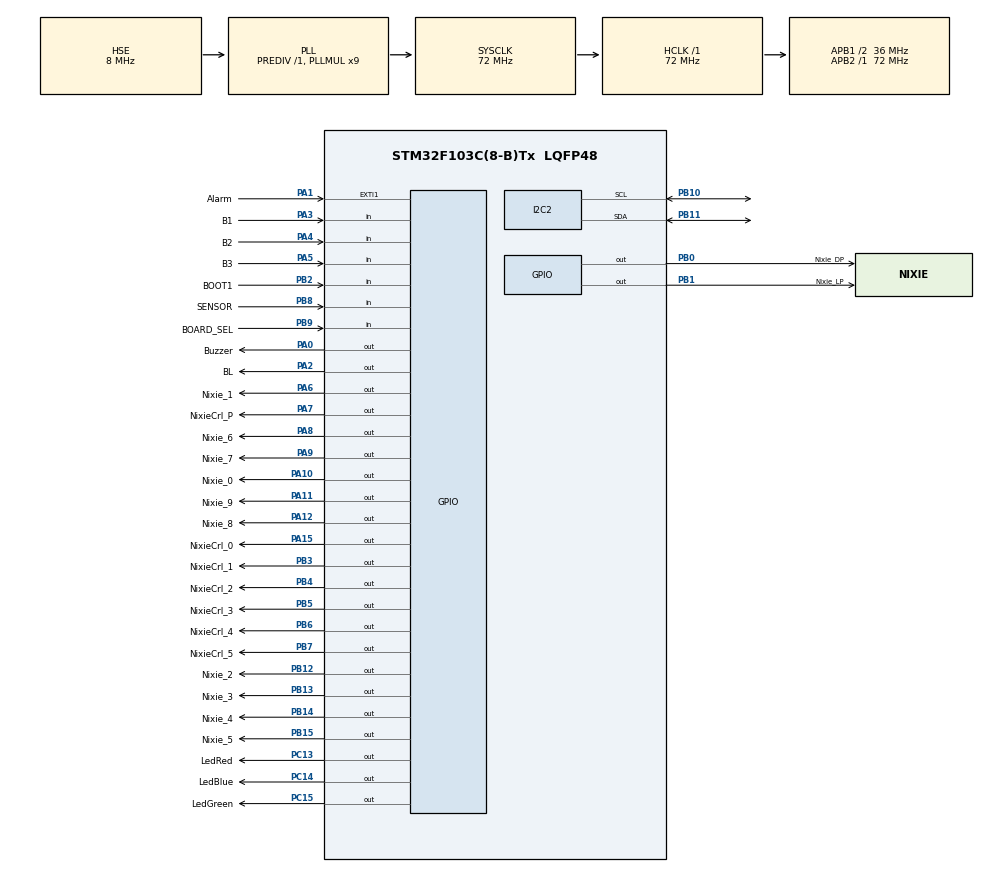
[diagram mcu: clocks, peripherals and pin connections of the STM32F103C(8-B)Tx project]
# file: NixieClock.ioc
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Mcu.Family=STM32F1
FREERTOS.Queues01=Q_Buttons,4,uint8_t,0,Dynamic,NULL,NULL
FREERTOS.BinarySemaphores01=S_Alarm,Dynamic,NULL
Dma.I2C2_RX.0.MemDataAlignment=DMA_MDATAALIGN_BYTE
NVIC.DMA1_Channel5_IRQn=true\:5\:0\:false\:false\:true\:true\:false\:true
PB10.Mode=I2C
Dma.I2C2_RX.0.Priority=DMA_PRIORITY_HIGH
PB14.GPIO_Label=Nixie_4
PA3.GPIO_PuPd=GPIO_PULLUP
PA6.GPIO_Label=Nixie_1
PB0.GPIO_Label=Nixie_DP
PB6.GPIO_Label=NixieCrl_4
NVIC.TIM1_UP_IRQn=true\:0\:0\:false\:false\:true\:false\:false\:true
PB13.GPIO_Label=Nixie_3
PB11.Signal=I2C2_SDA
PB13.Signal=GPIO_Output
PB15.Signal=GPIO_Output
PC15-OSC32_OUT.GPIO_Label=LedGreen
RCC.SYSCLKSource=RCC_SYSCLKSOURCE_PLLCLK
ProjectManager.StackSize=0x400
PD1-OSC_OUT.Signal=RCC_OSC_OUT
PA15.GPIO_Label=NixieCrl_0
NVIC.EXTI1_IRQn=true\:5\:0\:false\:false\:true\:true\:true\:true
PA12.Signal=GPIO_Output
RCC.HCLKFreq_Value=72000000
Dma.I2C2_RX.0.PeriphDataAlignment=DMA_PDATAALIGN_BYTE
RCC.APB2TimFreq_Value=72000000
TIM3.Period=71
PB6.Signal=GPIO_Output
PA1.GPIO_PuPd=GPIO_PULLDOWN
RCC.AHBFreq_Value=72000000
PA4.GPIO_PuPd=GPIO_PULLUP
PB2.Signal=GPIO_Input
RCC.PLLMUL=RCC_PLL_MUL9
PB12.GPIO_Label=Nixie_2
PA14.Mode=Serial_Wire
VP_SYS_VS_tim1.Mode=TIM1
FREERTOS.HEAP_NUMBER=4
TIM3.Prescaler=999
PA5.GPIO_PuPd=GPIO_PULLDOWN
PB1.GPIO_Label=Nixie_LP
NVIC.TIM2_IRQn=true\:5\:0\:false\:false\:true\:true\:true\:true
PA10.GPIO_Label=Nixie_0
PB7.Signal=GPIO_Output
PA8.Signal=GPIO_Output
TIM4.Period=143
VP_FREERTOS_VS_CMSIS_V1.Mode=CMSIS_V1
Dma.I2C2_RX.0.PeriphInc=DMA_PINC_DISABLE
FREERTOS.configTOTAL_HEAP_SIZE=8192
PB7.GPIO_Label=NixieCrl_5
Mcu.Package=LQFP48
PB9.Signal=GPIO_Input
TIM2.Prescaler=17999
PB1.Signal=GPIO_Output
PA6.Signal=GPIO_Output
NVIC.TimeBase=TIM1_UP_IRQn
PA2.GPIO_Label=BL
NVIC.TimeBaseIP=TIM1
PA10.Signal=GPIO_Output
PA15.Signal=GPIO_Output
PB5.GPIO_Label=NixieCrl_3
RCC.APB1TimFreq_Value=72000000
PC14-OSC32_IN.GPIO_Label=LedBlue
Dma.Request0=I2C2_RX
I2C2.I2C_Mode=I2C_Fast
PA4.GPIO_Label=B2
PA1.GPIO_ModeDefaultEXTI=GPIO_MODE_IT_FALLING
VP_TIM3_VS_ClockSourceINT.Mode=Internal
PB4.Signal=GPIO_Output
PA3.Signal=GPIO_Input
PB3.GPIO_Label=NixieCrl_1
RCC.PLLSourceVirtual=RCC_PLLSOURCE_HSE
FREERTOS.Tasks01=pulling,2,128,StartPullingTask,Default,NULL,Dynamic,NULL,NULL;Buttons,-1,128,StartButtosTask,Default,NULL,Dynamic,NULL,NULL;Alarm,0,128,StartAlarmTask,Default,NULL,Dynamic,NULL,NULL
PD1-OSC_OUT.Mode=HSE-External-Oscillator
PB9.GPIO_Label=BOARD_SEL
PA9.GPIO_Label=Nixie_7
PC13-TAMPER-RTC.Signal=GPIO_Output
PA11.GPIO_Label=Nixie_9
PD0-OSC_IN.Signal=RCC_OSC_IN
RCC.APB1CLKDivider=RCC_HCLK_DIV2
PC14-OSC32_IN.Signal=GPIO_Output
PA12.GPIO_Label=Nixie_8
PA0-WKUP.GPIO_Label=Buzzer
PA0-WKUP.Signal=GPIO_Output
PA13.Signal=SYS_JTMS-SWDIO
PB8.GPIO_Label=SENSOR
PA8.GPIO_Label=Nixie_6
PB11.Mode=I2C
ProjectManager.TargetToolchain=STM32CubeIDE
Dma.I2C2_RX.0.MemInc=DMA_MINC_ENABLE
PA9.Signal=GPIO_Output
RCC.USBFreq_Value=72000000
TIM4.Prescaler=99
PC15-OSC32_OUT.Signal=GPIO_Output
PA1.Signal=GPXTI1
PD0-OSC_IN.Mode=HSE-External-Oscillator
PB10.Signal=I2C2_SCL
PB14.Signal=GPIO_Output
PA5.Signal=GPIO_Input
board=custom
PC13-TAMPER-RTC.GPIO_Label=LedRed
NVIC.TIM3_IRQn=true\:5\:0\:false\:false\:true\:true\:true\:true
RCC.APB2Freq_Value=72000000
PB4.GPIO_Label=NixieCrl_2
PB15.GPIO_Label=Nixie_5
VP_TIM2_VS_ClockSourceINT.Mode=Internal
Dma.I2C2_RX.0.Mode=DMA_NORMAL
PA1.GPIO_Label=Alarm
Dma.I2C2_RX.0.Instance=DMA1_Channel5
TIM2.Period=499
PA13.Mode=Serial_Wire
Dma.I2C2_RX.0.Direction=DMA_PERIPH_TO_MEMORY
Mcu.Name=STM32F103C(8-B)Tx
PA2.Signal=GPIO_Output
PB3.Signal=GPIO_Output
PA4.Signal=GPIO_Input
RCC.SYSCLKFreq_VALUE=72000000
PB5.Signal=GPIO_Output
PA7.GPIO_Label=NixieCrl_P
PA5.GPIO_Label=B3
PA11.Signal=GPIO_Output
PA14.Signal=SYS_JTCK-SWCLK
PB2.GPIO_Label=BOOT1
ProjectManager.HeapSize=0x200
NVIC.I2C2_EV_IRQn=true\:5\:0\:false\:false\:true\:true\:true\:true
VP_TIM4_VS_ClockSourceINT.Mode=Internal
NVIC.PriorityGroup=NVIC_PRIORITYGROUP_4
PB8.Signal=GPIO_Input
NVIC.TIM4_IRQn=true\:5\:0\:false\:false\:true\:true\:true\:true
RCC.APB1Freq_Value=36000000
PB0.Signal=GPIO_Output
PB12.Signal=GPIO_Output
PA3.GPIO_Label=B1
PA7.Signal=GPIO_Output

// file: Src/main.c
/* USER CODE BEGIN Header */
/**
  ******************************************************************************
  * @file           : main.c
  * @brief          : Main program body
  ******************************************************************************
  * This notice applies to any and all portions of this file
  * that are not between comment pairs USER CODE BEGIN and
  * USER CODE END. Other portions of this file, whether
  * inserted by the user or by software development tools
  * are owned by their respective copyright owners.
  *
  * Copyright (c) 2019 STMicroelectronics International N.V.
  * All rights reserved.
  *
  * Redistribution and use in source and binary forms, with or without
  * modification, are permitted, provided that the following conditions are met:
  *
  * 1. Redistribution of source code must retain the above copyright notice,
  *    this list of conditions and the following disclaimer.
  * 2. Redistributions in binary form must reproduce the above copyright notice,
  *    this list of conditions and the following disclaimer in the documentation
  *    and/or other materials provided with the distribution.
  * 3. Neither the name of STMicroelectronics nor the names of other
  *    contributors to this software may be used to endorse or promote products
  *    derived from this software without specific written permission.
  * 4. This software, including modifications and/or derivative works of this
  *    software, must execute solely and exclusively on microcontroller or
  *    microprocessor devices manufactured by or for STMicroelectronics.
  * 5. Redistribution and use of this software other than as permitted under
  *    this license is void and will automatically terminate your rights under
  *    this license.
  *
  * THIS SOFTWARE IS PROVIDED BY STMICROELECTRONICS AND CONTRIBUTORS "AS IS"
  * AND ANY EXPRESS, IMPLIED OR STATUTORY WARRANTIES, INCLUDING, BUT NOT
  * LIMITED TO, THE IMPLIED WARRANTIES OF MERCHANTABILITY, FITNESS FOR A
  * PARTICULAR PURPOSE AND NON-INFRINGEMENT OF THIRD PARTY INTELLECTUAL PROPERTY
  * RIGHTS ARE DISCLAIMED TO THE FULLEST EXTENT PERMITTED BY LAW. IN NO EVENT
  * SHALL STMICROELECTRONICS OR CONTRIBUTORS BE LIABLE FOR ANY DIRECT, INDIRECT,
  * INCIDENTAL, SPECIAL, EXEMPLARY, OR CONSEQUENTIAL DAMAGES (INCLUDING, BUT NOT
  * LIMITED TO, PROCUREMENT OF SUBSTITUTE GOODS OR SERVICES; LOSS OF USE, DATA,
  * OR PROFITS; OR BUSINESS INTERRUPTION) HOWEVER CAUSED AND ON ANY THEORY OF
  * LIABILITY, WHETHER IN CONTRACT, STRICT LIABILITY, OR TORT (INCLUDING
  * NEGLIGENCE OR OTHERWISE) ARISING IN ANY WAY OUT OF THE USE OF THIS SOFTWARE,
  * EVEN IF ADVISED OF THE POSSIBILITY OF SUCH DAMAGE.
  *
  ******************************************************************************
  */
/* USER CODE END Header */
#include "main.h"
#include "cmsis_os.h"

/* USER CODE BEGIN Includes */
#include "nixieDisplay.h"
/* USER CODE END Includes */

/* USER CODE BEGIN PD */
#define B_PERIOD 8
#define B_ACTIVITY 4
#define RTC_PERIOD 2
/* USER CODE END PD */

I2C_HandleTypeDef hi2c2;
DMA_HandleTypeDef hdma_i2c2_rx;

TIM_HandleTypeDef htim2;
TIM_HandleTypeDef htim3;
TIM_HandleTypeDef htim4;

osThreadId pullingHandle;
osThreadId ButtonsHandle;
osThreadId AlarmHandle;
osMessageQId Q_ButtonsHandle;
osSemaphoreId S_AlarmHandle;
/* USER CODE BEGIN PV */
uint8_t buttonFlag[6]={0,0,0,0,0,0};
/* USER CODE END PV */

void SystemClock_Config(void);
static void MX_GPIO_Init(void);
static void MX_DMA_Init(void);
static void MX_TIM2_Init(void);
static void MX_TIM3_Init(void);
static void MX_I2C2_Init(void);
static void MX_TIM4_Init(void);
void StartPullingTask(void const * argument);
void StartButtosTask(void const * argument);
void StartAlarmTask(void const * argument);

/* USER CODE BEGIN 0 */
uint8_t event(){
	uint8_t aux=0,aux2=0;
	static uint8_t start[6]={0,1,1,1,0,1};
	if((HAL_GPIO_ReadPin(B1_GPIO_Port,B1_Pin))==GPIO_PIN_RESET){
		if(!buttonFlag[E_B1]){
			aux=E_B1;
			if(start[E_B1]){
				buttonFlag[E_B1]=20;
				start[E_B1]=0;
			}else{
				buttonFlag[E_B1]=1;
			}
		}
	}else{
		buttonFlag[E_B1]=0;
		start[E_B1]=1;
	}
	if((HAL_GPIO_ReadPin(B2_GPIO_Port,B2_Pin))==GPIO_PIN_RESET){
		if(!buttonFlag[E_B2]){
			aux=E_B2;
			if(start[E_B2]){
				buttonFlag[E_B2]=20;
				start[E_B2]=0;
			}else{
				buttonFlag[E_B2]=1;
			}
		}
	}else{
		buttonFlag[E_B2]=0;
		start[E_B2]=1;
	}
	if((HAL_GPIO_ReadPin(B3_GPIO_Port,B3_Pin))==GPIO_PIN_RESET){
		if(!buttonFlag[E_B3]){
			aux=E_B3;
			if(start[E_B3]){
				buttonFlag[E_B3]=20;
				start[E_B3]=0;
			}else{
				buttonFlag[E_B3]=1;
			}
		}
	}else{
		buttonFlag[E_B3]=0;
		start[E_B3]=1;
	}
	aux2= HAL_GPIO_ReadPin(SENSOR_GPIO_Port,SENSOR_Pin);
	if(aux2!=start[E_SENSOR]){
		if(!buttonFlag[E_SENSOR]){
			start[E_SENSOR]=!start[E_SENSOR];
			aux=E_SENSOR;
			buttonFlag[E_SENSOR]=10;
		}
	}
	return aux;
}
/* USER CODE END 0 */

int main(void)
{

  /* MCU Configuration--------------------------------------------------------*/

  /* Reset of all peripherals, Initializes the Flash interface and the Systick. */
  HAL_Init();

  /* USER CODE BEGIN Init */
  resetGpio();
  /* USER CODE END Init */

  /* Configure the system clock */
  SystemClock_Config();

  /* Initialize all configured peripherals */
  MX_GPIO_Init();
  MX_DMA_Init();
  MX_TIM2_Init();
  MX_TIM3_Init();
  MX_I2C2_Init();
  MX_TIM4_Init();
  /* USER CODE BEGIN 2 */
  nixieInit();
  /* USER CODE END 2 */

  /* Create the semaphores(s) */
  /* definition and creation of S_Alarm */
  osSemaphoreDef(S_Alarm);
  S_AlarmHandle = osSemaphoreCreate(osSemaphore(S_Alarm), 1);

  /* Create the queue(s) */
  /* definition and creation of Q_Buttons */
  osMessageQDef(Q_Buttons, 4, uint8_t);
  Q_ButtonsHandle = osMessageCreate(osMessageQ(Q_Buttons), NULL);

  /* Create the thread(s) */
  /* definition and creation of pulling */
  osThreadDef(pulling, StartPullingTask, osPriorityHigh, 0, 128);
  pullingHandle = osThreadCreate(osThread(pulling), NULL);

  /* definition and creation of Buttons */
  osThreadDef(Buttons, StartButtosTask, osPriorityBelowNormal, 0, 128);
  ButtonsHandle = osThreadCreate(osThread(Buttons), NULL);

  /* definition and creation of Alarm */
  osThreadDef(Alarm, StartAlarmTask, osPriorityNormal, 0, 128);
  AlarmHandle = osThreadCreate(osThread(Alarm), NULL);

  /* Start scheduler */
  osKernelStart();

  /* We should never get here as control is now taken by the scheduler */
  /* Infinite loop */
  while (1)
  {

  }
}

void SystemClock_Config(void)
{
  RCC_OscInitTypeDef RCC_OscInitStruct = {0};
  RCC_ClkInitTypeDef RCC_ClkInitStruct = {0};

  /** Initializes the RCC Oscillators according to the specified parameters
  * in the RCC_OscInitTypeDef structure.
  */
  RCC_OscInitStruct.OscillatorType = RCC_OSCILLATORTYPE_HSE;
  RCC_OscInitStruct.HSEState = RCC_HSE_ON;
  RCC_OscInitStruct.HSEPredivValue = RCC_HSE_PREDIV_DIV1;
  RCC_OscInitStruct.HSIState = RCC_HSI_ON;
  RCC_OscInitStruct.PLL.PLLState = RCC_PLL_ON;
  RCC_OscInitStruct.PLL.PLLSource = RCC_PLLSOURCE_HSE;
  RCC_OscInitStruct.PLL.PLLMUL = RCC_PLL_MUL9;
  if (HAL_RCC_OscConfig(&RCC_OscInitStruct) != HAL_OK)
  {
    Error_Handler();
  }
  /** Initializes the CPU, AHB and APB buses clocks
  */
  RCC_ClkInitStruct.ClockType = RCC_CLOCKTYPE_HCLK|RCC_CLOCKTYPE_SYSCLK
                              |RCC_CLOCKTYPE_PCLK1|RCC_CLOCKTYPE_PCLK2;
  RCC_ClkInitStruct.SYSCLKSource = RCC_SYSCLKSOURCE_PLLCLK;
  RCC_ClkInitStruct.AHBCLKDivider = RCC_SYSCLK_DIV1;
  RCC_ClkInitStruct.APB1CLKDivider = RCC_HCLK_DIV2;
  RCC_ClkInitStruct.APB2CLKDivider = RCC_HCLK_DIV1;

  if (HAL_RCC_ClockConfig(&RCC_ClkInitStruct, FLASH_LATENCY_2) != HAL_OK)
  {
    Error_Handler();
  }
}

static void MX_I2C2_Init(void)
{

  hi2c2.Instance = I2C2;
  hi2c2.Init.ClockSpeed = 400000;
  hi2c2.Init.DutyCycle = I2C_DUTYCYCLE_2;
  hi2c2.Init.OwnAddress1 = 0;
  hi2c2.Init.AddressingMode = I2C_ADDRESSINGMODE_7BIT;
  hi2c2.Init.DualAddressMode = I2C_DUALADDRESS_DISABLE;
  hi2c2.Init.OwnAddress2 = 0;
  hi2c2.Init.GeneralCallMode = I2C_GENERALCALL_DISABLE;
  hi2c2.Init.NoStretchMode = I2C_NOSTRETCH_DISABLE;
  if (HAL_I2C_Init(&hi2c2) != HAL_OK)
  {
    Error_Handler();
  }

}

static void MX_TIM2_Init(void)
{

  TIM_ClockConfigTypeDef sClockSourceConfig = {0};
  TIM_MasterConfigTypeDef sMasterConfig = {0};

  htim2.Instance = TIM2;
  htim2.Init.Prescaler = 17999;
  htim2.Init.CounterMode = TIM_COUNTERMODE_UP;
  htim2.Init.Period = 499;
  htim2.Init.ClockDivision = TIM_CLOCKDIVISION_DIV1;
  htim2.Init.AutoReloadPreload = TIM_AUTORELOAD_PRELOAD_DISABLE;
  if (HAL_TIM_Base_Init(&htim2) != HAL_OK)
  {
    Error_Handler();
  }
  sClockSourceConfig.ClockSource = TIM_CLOCKSOURCE_INTERNAL;
  if (HAL_TIM_ConfigClockSource(&htim2, &sClockSourceConfig) != HAL_OK)
  {
    Error_Handler();
  }
  sMasterConfig.MasterOutputTrigger = TIM_TRGO_RESET;
  sMasterConfig.MasterSlaveMode = TIM_MASTERSLAVEMODE_DISABLE;
  if (HAL_TIMEx_MasterConfigSynchronization(&htim2, &sMasterConfig) != HAL_OK)
  {
    Error_Handler();
  }

}

static void MX_TIM3_Init(void)
{

  TIM_ClockConfigTypeDef sClockSourceConfig = {0};
  TIM_MasterConfigTypeDef sMasterConfig = {0};

  htim3.Instance = TIM3;
  htim3.Init.Prescaler = 999;
  htim3.Init.CounterMode = TIM_COUNTERMODE_UP;
  htim3.Init.Period = 71;
  htim3.Init.ClockDivision = TIM_CLOCKDIVISION_DIV1;
  htim3.Init.AutoReloadPreload = TIM_AUTORELOAD_PRELOAD_DISABLE;
  if (HAL_TIM_Base_Init(&htim3) != HAL_OK)
  {
    Error_Handler();
  }
  sClockSourceConfig.ClockSource = TIM_CLOCKSOURCE_INTERNAL;
  if (HAL_TIM_ConfigClockSource(&htim3, &sClockSourceConfig) != HAL_OK)
  {
    Error_Handler();
  }
  sMasterConfig.MasterOutputTrigger = TIM_TRGO_RESET;
  sMasterConfig.MasterSlaveMode = TIM_MASTERSLAVEMODE_DISABLE;
  if (HAL_TIMEx_MasterConfigSynchronization(&htim3, &sMasterConfig) != HAL_OK)
  {
    Error_Handler();
  }

}

static void MX_TIM4_Init(void)
{

  TIM_ClockConfigTypeDef sClockSourceConfig = {0};
  TIM_MasterConfigTypeDef sMasterConfig = {0};

  htim4.Instance = TIM4;
  htim4.Init.Prescaler = 99;
  htim4.Init.CounterMode = TIM_COUNTERMODE_UP;
  htim4.Init.Period = 143;
  htim4.Init.ClockDivision = TIM_CLOCKDIVISION_DIV1;
  htim4.Init.AutoReloadPreload = TIM_AUTORELOAD_PRELOAD_DISABLE;
  if (HAL_TIM_Base_Init(&htim4) != HAL_OK)
  {
    Error_Handler();
  }
  sClockSourceConfig.ClockSource = TIM_CLOCKSOURCE_INTERNAL;
  if (HAL_TIM_ConfigClockSource(&htim4, &sClockSourceConfig) != HAL_OK)
  {
    Error_Handler();
  }
  sMasterConfig.MasterOutputTrigger = TIM_TRGO_RESET;
  sMasterConfig.MasterSlaveMode = TIM_MASTERSLAVEMODE_DISABLE;
  if (HAL_TIMEx_MasterConfigSynchronization(&htim4, &sMasterConfig) != HAL_OK)
  {
    Error_Handler();
  }

}

static void MX_DMA_Init(void)
{

  /* DMA controller clock enable */
  __HAL_RCC_DMA1_CLK_ENABLE();

  /* DMA interrupt init */
  /* DMA1_Channel5_IRQn interrupt configuration */
  HAL_NVIC_SetPriority(DMA1_Channel5_IRQn, 5, 0);
  HAL_NVIC_EnableIRQ(DMA1_Channel5_IRQn);

}

static void MX_GPIO_Init(void)
{
  GPIO_InitTypeDef GPIO_InitStruct = {0};

  /* GPIO Ports Clock Enable */
  __HAL_RCC_GPIOC_CLK_ENABLE();
  __HAL_RCC_GPIOD_CLK_ENABLE();
  __HAL_RCC_GPIOA_CLK_ENABLE();
  __HAL_RCC_GPIOB_CLK_ENABLE();

  /*Configure GPIO pin Output Level */
  HAL_GPIO_WritePin(GPIOC, LedRed_Pin|LedBlue_Pin|LedGreen_Pin, GPIO_PIN_RESET);

  /*Configure GPIO pin Output Level */
  HAL_GPIO_WritePin(GPIOA, Buzzer_Pin|BL_Pin|Nixie_1_Pin|NixieCrl_P_Pin
                          |Nixie_6_Pin|Nixie_7_Pin|Nixie_0_Pin|Nixie_9_Pin
                          |Nixie_8_Pin|NixieCrl_0_Pin, GPIO_PIN_RESET);

  /*Configure GPIO pin Output Level */
  HAL_GPIO_WritePin(GPIOB, Nixie_DP_Pin|Nixie_LP_Pin|Nixie_2_Pin|Nixie_3_Pin
                          |Nixie_4_Pin|Nixie_5_Pin|NixieCrl_1_Pin|NixieCrl_2_Pin
                          |NixieCrl_3_Pin|NixieCrl_4_Pin|NixieCrl_5_Pin, GPIO_PIN_RESET);

  /*Configure GPIO pins : LedRed_Pin LedBlue_Pin LedGreen_Pin */
  GPIO_InitStruct.Pin = LedRed_Pin|LedBlue_Pin|LedGreen_Pin;
  GPIO_InitStruct.Mode = GPIO_MODE_OUTPUT_PP;
  GPIO_InitStruct.Pull = GPIO_NOPULL;
  GPIO_InitStruct.Speed = GPIO_SPEED_FREQ_LOW;
  HAL_GPIO_Init(GPIOC, &GPIO_InitStruct);

  /*Configure GPIO pins : Buzzer_Pin BL_Pin Nixie_1_Pin NixieCrl_P_Pin
                           Nixie_6_Pin Nixie_7_Pin Nixie_0_Pin Nixie_9_Pin
                           Nixie_8_Pin NixieCrl_0_Pin */
  GPIO_InitStruct.Pin = Buzzer_Pin|BL_Pin|Nixie_1_Pin|NixieCrl_P_Pin
                          |Nixie_6_Pin|Nixie_7_Pin|Nixie_0_Pin|Nixie_9_Pin
                          |Nixie_8_Pin|NixieCrl_0_Pin;
  GPIO_InitStruct.Mode = GPIO_MODE_OUTPUT_PP;
  GPIO_InitStruct.Pull = GPIO_NOPULL;
  GPIO_InitStruct.Speed = GPIO_SPEED_FREQ_LOW;
  HAL_GPIO_Init(GPIOA, &GPIO_InitStruct);

  /*Configure GPIO pin : Alarm_Pin */
  GPIO_InitStruct.Pin = Alarm_Pin;
  GPIO_InitStruct.Mode = GPIO_MODE_IT_FALLING;
  GPIO_InitStruct.Pull = GPIO_PULLDOWN;
  HAL_GPIO_Init(Alarm_GPIO_Port, &GPIO_InitStruct);

  /*Configure GPIO pins : B1_Pin B2_Pin */
  GPIO_InitStruct.Pin = B1_Pin|B2_Pin;
  GPIO_InitStruct.Mode = GPIO_MODE_INPUT;
  GPIO_InitStruct.Pull = GPIO_PULLUP;
  HAL_GPIO_Init(GPIOA, &GPIO_InitStruct);

  /*Configure GPIO pin : B3_Pin */
  GPIO_InitStruct.Pin = B3_Pin;
  GPIO_InitStruct.Mode = GPIO_MODE_INPUT;
  GPIO_InitStruct.Pull = GPIO_PULLDOWN;
  HAL_GPIO_Init(B3_GPIO_Port, &GPIO_InitStruct);

  /*Configure GPIO pins : Nixie_DP_Pin Nixie_LP_Pin Nixie_2_Pin Nixie_3_Pin
                           Nixie_4_Pin Nixie_5_Pin NixieCrl_1_Pin NixieCrl_2_Pin
                           NixieCrl_3_Pin NixieCrl_4_Pin NixieCrl_5_Pin */
  GPIO_InitStruct.Pin = Nixie_DP_Pin|Nixie_LP_Pin|Nixie_2_Pin|Nixie_3_Pin
                          |Nixie_4_Pin|Nixie_5_Pin|NixieCrl_1_Pin|NixieCrl_2_Pin
                          |NixieCrl_3_Pin|NixieCrl_4_Pin|NixieCrl_5_Pin;
  GPIO_InitStruct.Mode = GPIO_MODE_OUTPUT_PP;
  GPIO_InitStruct.Pull = GPIO_NOPULL;
  GPIO_InitStruct.Speed = GPIO_SPEED_FREQ_LOW;
  HAL_GPIO_Init(GPIOB, &GPIO_InitStruct);

  /*Configure GPIO pins : BOOT1_Pin SENSOR_Pin BOARD_SEL_Pin */
  GPIO_InitStruct.Pin = BOOT1_Pin|SENSOR_Pin|BOARD_SEL_Pin;
  GPIO_InitStruct.Mode = GPIO_MODE_INPUT;
  GPIO_InitStruct.Pull = GPIO_NOPULL;
  HAL_GPIO_Init(GPIOB, &GPIO_InitStruct);

  /* EXTI interrupt init*/
  HAL_NVIC_SetPriority(EXTI1_IRQn, 5, 0);
  HAL_NVIC_EnableIRQ(EXTI1_IRQn);

}

/* USER CODE BEGIN 4 */
void HAL_GPIO_EXTI_Callback(uint16_t GPIO_Pin){
	portBASE_TYPE X	=pdFALSE;
	if(GPIO_Pin==GPIO_PIN_1){
		xSemaphoreGiveFromISR(S_AlarmHandle,&X);
	}
	portEND_SWITCHING_ISR(X);
}
void HAL_I2C_MemRxCpltCallback(I2C_HandleTypeDef *hi2c){
	if(hi2c->Instance==hi2c2.Instance){
		loadRTC();
	}
}

/* USER CODE END 4 */

void StartPullingTask(void const * argument)
{
  /* USER CODE BEGIN 5 */

  /* Infinite loop */
	uint8_t aux=0;
  for(;;)
  {
	  aux=event();
	  if(aux){
	  xQueueSendToBack(Q_ButtonsHandle,&aux,(portTickType)0);
	  }
    osDelay(100);
  }
  /* USER CODE END 5 */
}

void StartButtosTask(void const * argument)
{
  /* USER CODE BEGIN StartButtosTask */
	uint8_t aux=0;
  /* Infinite loop */
  for(;;)
  {
		xQueueReceive(Q_ButtonsHandle,&aux,portMAX_DELAY);
		nixieEvent(aux);
  }
  /* USER CODE END StartButtosTask */
}

void StartAlarmTask(void const * argument)
{
  /* USER CODE BEGIN StartAlarmTask */
  /* Infinite loop */
  for(;;)
  {
    xSemaphoreTake(S_AlarmHandle,portMAX_DELAY);
    nixieEvent(E_ALARM);
  }
  /* USER CODE END StartAlarmTask */
}

 /**
  * @brief  Period elapsed callback in non blocking mode
  * @note   This function is called  when TIM1 interrupt took place, inside
  * HAL_TIM_IRQHandler(). It makes a direct call to HAL_IncTick() to increment
  * a global variable "uwTick" used as application time base.
  * @param  htim : TIM handle
  * @retval None
  */
void HAL_TIM_PeriodElapsedCallback(TIM_HandleTypeDef *htim)
{
  /* USER CODE BEGIN Callback 0 */
	static uint8_t aux=0,aux2=0;
  /* USER CODE END Callback 0 */
  if (htim->Instance == TIM1) {
    HAL_IncTick();
  }
  /* USER CODE BEGIN Callback 1 */
  if (htim->Instance == TIM2){
	  //base freq =72 Mhz
	  //precaler 17999
	  //counter 499
	  //per int = (18000/72M)*500 = 125ms
     nixieBuzzer(B_PERIOD,B_ACTIVITY);
  }
  if(htim->Instance == TIM3){
	  //base freq =72 Mhz
	  //precaler 999
	  //counter 71
	  //per int = (1000/72M)*72 = 1ms
	  nixieTickUpdate();
  }
  if(htim->Instance==TIM4){
	  //base freq =72 Mhz
	  //precaler 99
	  //counter 143
	  //period int = (100/72M)*144 = 200us
	 if (!aux){
		//period = 500ms
		getRTC(&hi2c2);
	 }

	 if(!aux2){
		//period = 100ms
		if(buttonFlag[E_B1]){
			buttonFlag[E_B1]--;
		}
		if(buttonFlag[E_B2]){
			buttonFlag[E_B2]--;
		}
		if(buttonFlag[E_B3]){
			buttonFlag[E_B3]--;
		}
		if(buttonFlag[E_SENSOR]){
			buttonFlag[E_SENSOR]--;
		}
	 }
	 nixieDisplay(); //periodo de 200us * 10 = 2ms con duty 10%
	 nixieLed();
	 aux++;
	 aux2++;
	 aux2%=500;
	 aux%=2500;
  }

  /* USER CODE END Callback 1 */
}

void Error_Handler(void)
{
}

/************************ (C) COPYRIGHT STMicroelectronics *****END OF FILE****/

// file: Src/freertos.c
/* USER CODE BEGIN Header */
/**
  ******************************************************************************
  * File Name          : freertos.c
  * Description        : Code for freertos applications
  ******************************************************************************
  * This notice applies to any and all portions of this file
  * that are not between comment pairs USER CODE BEGIN and
  * USER CODE END. Other portions of this file, whether
  * inserted by the user or by software development tools
  * are owned by their respective copyright owners.
  *
  * Copyright (c) 2019 STMicroelectronics International N.V.
  * All rights reserved.
  *
  * Redistribution and use in source and binary forms, with or without
  * modification, are permitted, provided that the following conditions are met:
  *
  * 1. Redistribution of source code must retain the above copyright notice,
  *    this list of conditions and the following disclaimer.
  * 2. Redistributions in binary form must reproduce the above copyright notice,
  *    this list of conditions and the following disclaimer in the documentation
  *    and/or other materials provided with the distribution.
  * 3. Neither the name of STMicroelectronics nor the names of other
  *    contributors to this software may be used to endorse or promote products
  *    derived from this software without specific written permission.
  * 4. This software, including modifications and/or derivative works of this
  *    software, must execute solely and exclusively on microcontroller or
  *    microprocessor devices manufactured by or for STMicroelectronics.
  * 5. Redistribution and use of this software other than as permitted under
  *    this license is void and will automatically terminate your rights under
  *    this license.
  *
  * THIS SOFTWARE IS PROVIDED BY STMICROELECTRONICS AND CONTRIBUTORS "AS IS"
  * AND ANY EXPRESS, IMPLIED OR STATUTORY WARRANTIES, INCLUDING, BUT NOT
  * LIMITED TO, THE IMPLIED WARRANTIES OF MERCHANTABILITY, FITNESS FOR A
  * PARTICULAR PURPOSE AND NON-INFRINGEMENT OF THIRD PARTY INTELLECTUAL PROPERTY
  * RIGHTS ARE DISCLAIMED TO THE FULLEST EXTENT PERMITTED BY LAW. IN NO EVENT
  * SHALL STMICROELECTRONICS OR CONTRIBUTORS BE LIABLE FOR ANY DIRECT, INDIRECT,
  * INCIDENTAL, SPECIAL, EXEMPLARY, OR CONSEQUENTIAL DAMAGES (INCLUDING, BUT NOT
  * LIMITED TO, PROCUREMENT OF SUBSTITUTE GOODS OR SERVICES; LOSS OF USE, DATA,
  * OR PROFITS; OR BUSINESS INTERRUPTION) HOWEVER CAUSED AND ON ANY THEORY OF
  * LIABILITY, WHETHER IN CONTRACT, STRICT LIABILITY, OR TORT (INCLUDING
  * NEGLIGENCE OR OTHERWISE) ARISING IN ANY WAY OUT OF THE USE OF THIS SOFTWARE,
  * EVEN IF ADVISED OF THE POSSIBILITY OF SUCH DAMAGE.
  *
  ******************************************************************************
  */
/* USER CODE END Header */

#include "FreeRTOS.h"
#include "task.h"
#include "main.h"

/* GetIdleTaskMemory prototype (linked to static allocation support) */
void vApplicationGetIdleTaskMemory( StaticTask_t **ppxIdleTaskTCBBuffer, StackType_t **ppxIdleTaskStackBuffer, uint32_t *pulIdleTaskStackSize );

/* USER CODE BEGIN GET_IDLE_TASK_MEMORY */
static StaticTask_t xIdleTaskTCBBuffer;
static StackType_t xIdleStack[configMINIMAL_STACK_SIZE];

void vApplicationGetIdleTaskMemory( StaticTask_t **ppxIdleTaskTCBBuffer, StackType_t **ppxIdleTaskStackBuffer, uint32_t *pulIdleTaskStackSize )
{
  *ppxIdleTaskTCBBuffer = &xIdleTaskTCBBuffer;
  *ppxIdleTaskStackBuffer = &xIdleStack[0];
  *pulIdleTaskStackSize = configMINIMAL_STACK_SIZE;
  /* place for user code */
}
/* USER CODE END GET_IDLE_TASK_MEMORY */

/************************ (C) COPYRIGHT STMicroelectronics *****END OF FILE****/
